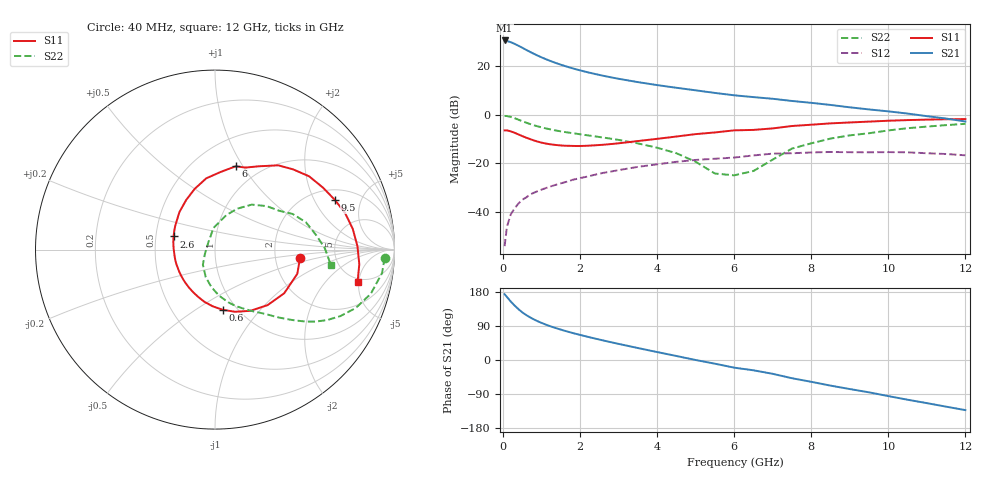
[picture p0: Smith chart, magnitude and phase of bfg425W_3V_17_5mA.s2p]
! Filename: 317bfg425.001
! BFG425W Field C1
! V1=8.486E-001V,V2=3.000E+000V, I1=2.294E-004A, I2=1.752E-002A
# GHz  S  MA  R 50
!  S11  S21  S12  S22
!Freq(GHz)  Mag  Ang  Mag  Ang  Mag  Ang  Mag  Ang
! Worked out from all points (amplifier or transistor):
!   44 points, 40 MHz to 12 GHz, reference 50 ohm
!   highest |S21| = 30.5 dB at 40 MHz (marker M1)
!   |S21| within 3 dB of that: start of sweep to 499.2 MHz
!   unconditionally stable (mu >= 1): 1.45 GHz to end of sweep
!   at 700 MHz: K = 0.70, MSG = 29.3 dB, |S12| = -32.8 dB
!   at 2.4 GHz: K = 1.14, MAG = 18.4 dB, |S12| = -24.6 dB
!   at 12 GHz: K = 1.35, MAG = 3.4 dB, |S12| = -16.7 dB
!   S11 on the Smith chart (normalised r, x): 40 MHz: 2.77, -0.34; 600 MHz: 0.86, -0.65; 2.6 GHz: 0.62, +0.10; 6 GHz: 0.77, +0.93; 9.5 GHz: 2.55, +2.96; 12 GHz: 4.44, -4.83
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0.04  0.476 -5.7  33.52 173.7  0.002 67.0  0.946 -2.8
0.1  0.478 -16.4  32.63 166.4  0.005 81.5  0.94 -8.0
0.2  0.456 -32.2  30.89 154.2  0.009 75.7  0.902 -15.9
0.3  0.426 -46.5  28.57 143.6  0.012 71.3  0.849 -22.6
0.4  0.394 -60.0  26.09 134.1  0.015 67.9  0.791 -27.9
0.5  0.364 -72.1  23.71 125.6  0.018 64.5  0.737 -32.2
0.6  0.338 -82.7  21.49 118.6  0.02 62.5  0.688 -35.7
0.7  0.316 -92.4  19.54 112.6  0.023 60.7  0.645 -38.4
0.9  0.28 -109.5  16.36 102.2  0.027 58.7  0.577 -42.7
1  0.267 -117.0  15.07 97.8  0.029 57.9  0.55 -44.5
1.2  0.249 -130.6  12.96 90.0  0.033 56.6  0.506 -47.8
1.6  0.231 -154.0  10.04 77.1  0.041 54.0  0.442 -53.4
2.2  0.231 178.0  7.436 61.1  0.054 48.9  0.377 -62.3
2.6  0.242 162.3  6.314 51.5  0.064 44.7  0.34 -68.7
3.5  0.288 133.6  4.676 31.6  0.085 33.5  0.258 -84.9
4.5  0.357 108.4  3.578 10.6  0.108 19.1  0.162 -108.5
6  0.478 76.1  2.507 -20.2  0.132 -5.3  0.057 128.9
6.5  0.488 69.5  2.301 -27.2  0.146 -8.4  0.07 113.8
8.5  0.665 37.8  1.589 -67.6  0.172 -45.4  0.324 50.7
9.5  0.723 22.5  1.285 -85.3  0.169 -62.1  0.417 31.3
10.5  0.776 8.6  1.057 -104.8  0.169 -80.8  0.529 16.7
12  0.815 -13.0  0.726 -132.3  0.147 -110.8  0.651 -7.6
